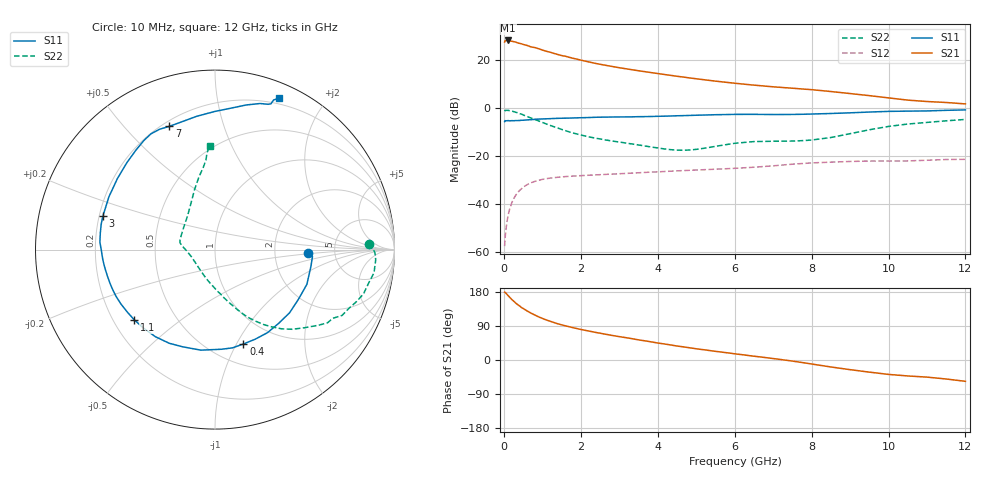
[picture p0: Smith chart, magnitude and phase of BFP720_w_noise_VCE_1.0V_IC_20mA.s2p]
! Infineon Technologies  Discrete & RF Semiconductors
! BFP720
! VCE =  1.0 V,  IC =  20 mA
! Common Emitter S-Parameters:  Aug 2012
# GHz  S  MA  R  50
!  f  S11  S21  S12  S22
! GHz  MAG  ANG  MAG  ANG  MAG  ANG  MAG  ANG
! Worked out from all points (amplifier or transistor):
!   105 points, 10 MHz to 12 GHz, reference 50 ohm
!   highest |S21| = 28.2 dB at 100 MHz (marker M1)
!   |S21| within 3 dB of that: start of sweep to 803.9 MHz
!   unconditionally stable (mu >= 1): start of sweep to 54.18 MHz; 3.159 GHz to 11.61 GHz
!   at 300 MHz: K = 0.31, MSG = 32.0 dB, |S12| = -36.4 dB
!   at 3.6 GHz: K = 1.08, MAG = 19.4 dB, |S12| = -27.0 dB
!   at 12 GHz: K = 0.90, MSG = 11.6 dB, |S12| = -21.4 dB
!   lowest NFmin = 0.77 dB at 450 MHz
!   S11 on the Smith chart (normalised r, x): 10 MHz: 3.17, -0.15; 400 MHz: 0.71, -1.07; 1.1 GHz: 0.29, -0.35; 3 GHz: 0.22, +0.14; 7 GHz: 0.23, +0.67; 12 GHz: 0.15, +1.50
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0.01  0.5209 -1.9  23.96 179.1  0.0013 25.3  0.8572 2.2
0.02  0.5444 -4.0  25.55 178.8  0.0018 56.3  0.8905 -0.9
0.1  0.5473 -20.7  25.83 169.9  0.0056 71.9  0.8954 -8.2
0.2  0.5446 -40.3  24.85 159.3  0.0106 69.5  0.8635 -16.6
0.3  0.5475 -57.7  23.83 150.1  0.0151 64.3  0.8147 -23.7
0.4  0.5491 -73.2  22.44 142.7  0.019 59.2  0.7604 -30.2
0.45  0.5561 -79.9  21.98 138.4  0.0206 57.3  0.7476 -33.1
0.6  0.5657 -98.0  20.27 129.1  0.0252 50.4  0.6621 -41.1
0.7  0.5709 -108.5  18.92 123.5  0.0275 46.9  0.6182 -45.9
0.8  0.5809 -116.1  18.32 118.5  0.0294 43.7  0.5772 -49.9
1.1  0.5961 -138.9  15.34 105.5  0.0335 36.0  0.4629 -60.0
1.5  0.6125 -159.2  12.46 92.6  0.0364 29.7  0.3566 -69.6
1.8  0.6207 -169.5  10.91 85.0  0.0379 26.9  0.3002 -75.8
2.1  0.6302 -177.5  9.589 78.5  0.0391 25.0  0.2611 -81.1
3  0.6518 163.5  6.943 61.5  0.0424 22.0  0.1947 -96.4
4.1  0.6745 142.2  5.116 43.3  0.0469 19.8  0.1424 -123.9
5  0.708 128.5  4.082 29.5  0.0507 17.7  0.1371 -162.9
6.1  0.737 118.1  3.237 15.1  0.0556 16.0  0.1867 172.8
7  0.7324 110.4  2.779 3.8  0.062 14.9  0.2026 164.1
8.5  0.7693 90.2  2.214 -18.4  0.074 4.8  0.2423 129.1
10.5  0.8622 69.9  1.464 -42.1  0.0786 -7.7  0.4631 98.1
12  0.9147 67.1  1.22 -56.3  0.0848 -16.5  0.5777 93.0
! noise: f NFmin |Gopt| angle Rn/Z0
0.45  0.77  0.18  1  0.29
1.8  0.82  0.18  8  0.14
2.4  0.88  0.18  11  0.54
5.5  1.11  0.17  -64  0.18
10  1.26  0.48  -71  0.33
